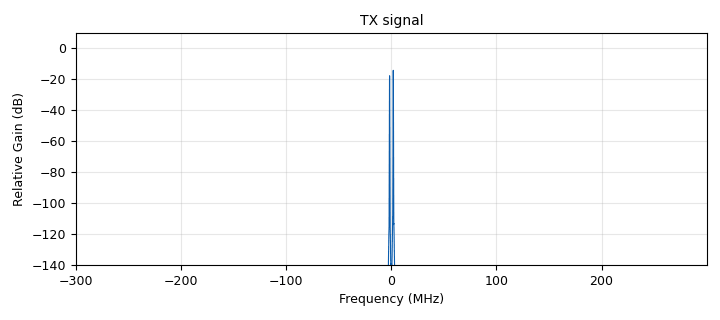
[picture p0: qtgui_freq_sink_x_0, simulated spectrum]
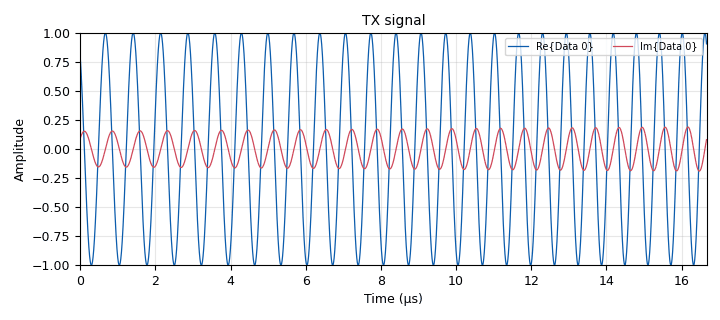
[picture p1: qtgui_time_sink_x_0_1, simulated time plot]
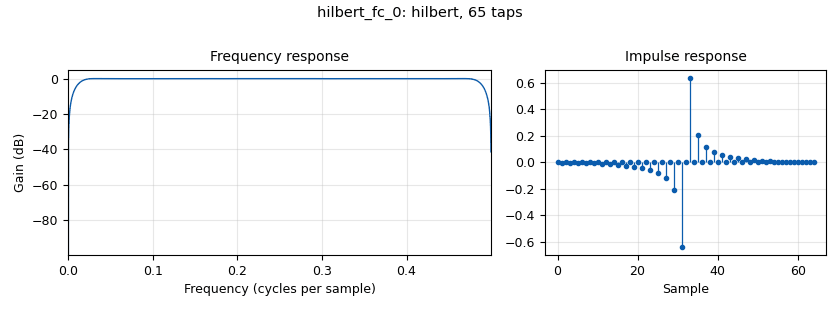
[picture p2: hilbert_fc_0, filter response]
options:
  parameters:
    generate_options: qt_gui
    id: BW_test
    output_language: python
    title: Not titled yet
  states: {}

blocks:
- name: samp_rate
  id: variable
  parameters:
    value: '600000000'
  states: {}
- name: analog_sig_source_x_0
  id: analog_sig_source_x
  parameters:
    amp: '1'
    freq: '10000'
    offset: '0'
    phase: '0'
    samp_rate: samp_rate
    type: float
    waveform: analog.GR_SAW_WAVE
  states: {}
- name: blocks_vco_f_0
  id: blocks_vco_f
  parameters:
    amplitude: '1'
    samp_rate: samp_rate
    sensitivity: int(2*6280000)
  states: {}
- name: hilbert_fc_0
  id: hilbert_fc
  parameters:
    num_taps: '64'
    win: firdes.WIN_HAMMING
  states: {}
- name: iio_pluto_sink_0
  id: iio_pluto_sink
  parameters:
    attenuation1: '10.0'
    auto_filter: 'True'
    bandwidth: '40000000'
    buffer_size: '32768'
    cyclic: 'False'
    frequency: '4000000000'
    samplerate: '2000000'
  states: {}
- name: iio_pluto_source_0
  id: iio_pluto_source
  parameters:
    auto_filter: 'True'
    bandwidth: '40000000'
    bbdc: 'True'
    buffer_size: '32768'
    frequency: '4000000000'
    gain1: '''slow_attack'''
    quadrature: 'True'
    rfdc: 'True'
    samplerate: '2000000'
  states: {}
- name: qtgui_freq_sink_x_0
  id: qtgui_freq_sink_x
  parameters:
    bw: samp_rate
    fc: '0'
    fftsize: '10240'
    name: '"TX signal"'
    type: complex
    wintype: firdes.WIN_BLACKMAN_hARRIS
  states: {}
- name: qtgui_freq_sink_x_1_0
  id: qtgui_freq_sink_x
  parameters:
    bw: samp_rate
    fc: '0'
    fftsize: '10000'
    freqhalf: 'False'
    name: '"Rx Fourier "'
    type: complex
    wintype: firdes.WIN_BLACKMAN_hARRIS
  states: {}
- name: qtgui_time_sink_x_0
  id: qtgui_time_sink_x
  parameters:
    name: '"RX signal"'
    size: '10000'
    srate: samp_rate
    type: complex
  states: {}
- name: qtgui_time_sink_x_0_1
  id: qtgui_time_sink_x
  parameters:
    name: '"TX signal"'
    size: '10000'
    srate: samp_rate
    type: complex
  states: {}

connections:
- [analog_sig_source_x_0, '0', blocks_vco_f_0, '0']
- [blocks_vco_f_0, '0', hilbert_fc_0, '0']
- [hilbert_fc_0, '0', iio_pluto_sink_0, '0']
- [hilbert_fc_0, '0', qtgui_freq_sink_x_0, '0']
- [hilbert_fc_0, '0', qtgui_time_sink_x_0_1, '0']
- [iio_pluto_source_0, '0', qtgui_freq_sink_x_1_0, '0']
- [iio_pluto_source_0, '0', qtgui_time_sink_x_0, '0']

metadata:
  file_format: 1
